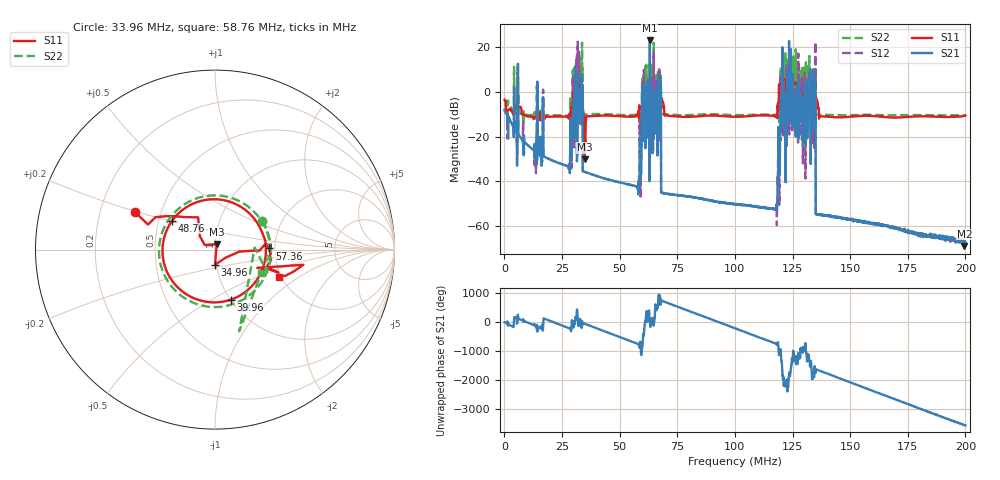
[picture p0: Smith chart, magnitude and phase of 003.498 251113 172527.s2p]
# HZ S DB R 50
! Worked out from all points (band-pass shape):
!   2000 points, 50 kHz to 200 MHz, reference 50 ohm
!   highest |S21| = 22.88 dB at 63.07 MHz (marker M1); lowest = -68.7 dB at 199.6 MHz (marker M2)
!   |S21| within 3 dB of the highest: 63.05876 MHz to 63.07439 MHz (15.63 kHz wide, 0.0248 % of centre); 120.5799 MHz to 120.5803 MHz (345.9 Hz wide, 0.000287 % of centre) (the widest 2 of 3)
!   lowest |S11| = -30.1 dB at 34.86 MHz (marker M3), VSWR 1.06, Z = 50.8 + j3.02 ohm
!   |S11| at or under -10 dB: 34.29 MHz to 57.94 MHz (23.64 MHz wide, 51.3 % of centre); 69.42 MHz to 118.4 MHz (48.95 MHz wide, 52.1 % of centre); 136.4 MHz to end of sweep (the widest 3 of 10)
!   |S22| runs from -29.5 to 21.9 dB; largest |S21 - S12| = 15
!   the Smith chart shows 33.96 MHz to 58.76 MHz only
!   S11 on the Smith chart (normalised r, x): 33.96 MHz: 0.35, +0.20; 34.96 MHz: 0.99, -0.17; 39.96 MHz: 1.01, -0.61; 48.76 MHz: 0.59, +0.21; 57.36 MHz: 1.87, +0.03; 58.76 MHz: 1.94, -0.69
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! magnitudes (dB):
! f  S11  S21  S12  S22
! 50 kHz  -3.5  -8.0  -8.0  -3.5
! 27.36 MHz  -11.3  -33.1  -33.1  -10.6
! 30.36 MHz  -0.5  -20.7  0.7  -10.6
! 33.46 MHz  -2.8  -10.8  -11.4  -4.5
! 33.96 MHz  -6.1  -35.4  -35.4  -10.3
! 34.86 MHz  -30.1  -35.7  -35.7  -10.2
! 34.96 MHz  -21.5  -35.8  -35.8  -10.2
! 39.96 MHz  -10.7  -37.5  -37.6  -9.9
! 48.76 MHz  -10.8  -40.2  -40.1  -10.3
! 57.36 MHz  -10.4  -42.3  -42.2  -10.2
! 58.76 MHz  -8.3  -20.9  -27.0  -10.8
! 63.07 MHz  -0.6  22.9  -10.1  -2.9
! 66.77 MHz  0.3  -7.1  -14.3  -0.4
! 68.97 MHz  -5.5  -45.3  -45.1  -10.0
! 100.1 MHz  -11.2  -50.0  -50.1  -10.4
! 117.4 MHz  -11.0  -52.3  -52.4  -10.2
! 120.8 MHz  4.3  -2.3  -14.7  7.3
! 133.4 MHz  1.2  -16.7  -11.5  6.8
! 136.1 MHz  -6.4  -54.8  -54.8  -10.2
! 166.7 MHz  -11.4  -59.9  -60.0  -10.5
! 199.6 MHz  -10.7  -68.7  -66.8  -10.4
! 200 MHz  -10.6  -67.4  -67.4  -10.4
